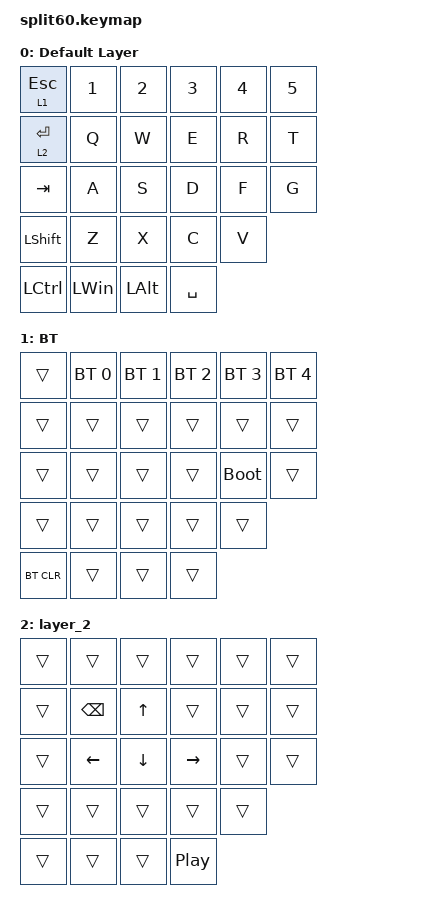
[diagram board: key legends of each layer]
/*
 * Copyright (c) 2020 The ZMK Contributors
 *
 * SPDX-License-Identifier: MIT
 */

#include <behaviors.dtsi>
#include <dt-bindings/zmk/bt.h>
#include <dt-bindings/zmk/keys.h>

/ {
    keymap {
        compatible = "zmk,keymap";

        default_layer {
            display-name = "Default Layer";
            bindings = <
&lt 1 ESCAPE      &kp NUMBER_1  &kp NUMBER_2  &kp NUMBER_3  &kp NUMBER_4  &kp N5
&lt 2 ENTER       &kp Q         &kp W         &kp E         &kp R         &kp T
&kp TAB           &kp A         &kp S         &kp D         &kp F         &kp G
&kp LEFT_SHIFT    &kp Z         &kp X         &kp C         &kp V
&kp LEFT_CONTROL  &kp LEFT_WIN  &kp LEFT_ALT  &kp SPACE
            >;
        };

        BT {
            bindings = <
&trans      &bt BT_SEL 0  &bt BT_SEL 1  &bt BT_SEL 2  &bt BT_SEL 3  &bt BT_SEL 4
&trans      &trans        &trans        &trans        &trans        &trans
&trans      &trans        &trans        &trans        &bootloader   &trans
&trans      &trans        &trans        &trans        &trans
&bt BT_CLR  &trans        &trans        &trans
            >;
        };

        layer_2 {
            bindings = <
&trans  &trans          &trans        &trans     &trans  &trans
&trans  &kp BACKSPACE   &kp UP_ARROW  &trans     &trans  &trans
&trans  &kp LEFT_ARROW  &kp DOWN      &kp RIGHT  &trans  &trans
&trans  &trans          &trans        &trans     &trans
&trans  &trans          &trans        &kp C_PP
            >;
        };
    };
};
